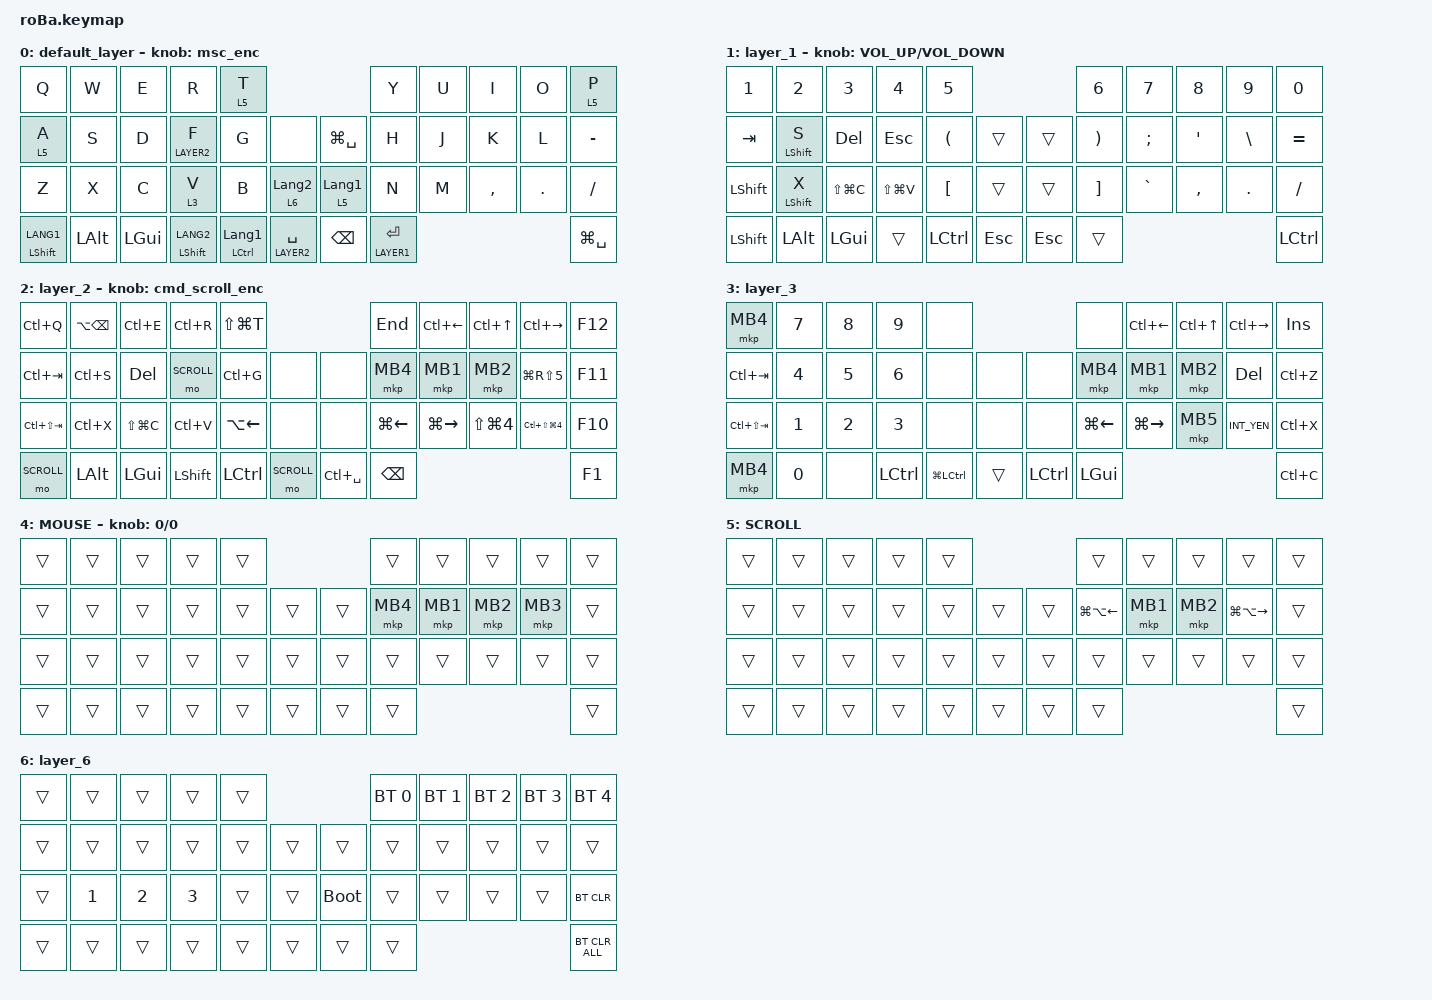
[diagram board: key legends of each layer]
// =============================================================================
// roBa ZMK Keymap - Keyball39からの移行版
// =============================================================================
// Keyball39(39キー) → roBa(43キー) への移行キーマップ
// roBaの左右内側列(pos 15,16,27,28)はKeyball39に存在しないため &none に設定
//
// Keyball固有のキーコード:
//   SCRL_MO (0x5DAC) → mo(SCROLL) で代替
//   CPI変更等 (0x5DA7-0x5DAE) → roBaでは非対応のため &none
//
// [要確認] Layer 1 右側の記号キー配置はスクリーンショットからの読み取りのため
//          実機で確認・調整してください
// =============================================================================

#include <behaviors.dtsi>
#include <dt-bindings/zmk/bt.h>
#include <dt-bindings/zmk/keys.h>
#include <dt-bindings/zmk/pointing.h>

// レイヤー定義

#define DEFAULT 0
#define LAYER1  1  // 数字・記号 (Keyball Layer 1)
#define LAYER2  2  // ナビゲーション・Ctrl操作 (Keyball Layer 2)
#define LAYER3  3  // テンキー・マウス (Keyball Layer 3)
#define MOUSE   4  // マウス自動レイヤー (roBa トラックボール用)
#define SCROLL  5  // スクロールレイヤー (roBa トラックボール用)
#define BT      6  // Bluetooth設定

&mt {
    flavor = "hold-preferred";
    quick-tap-ms = <150>;
    tapping-term-ms = <200>;
};

&trackball { scroll-layers = <SCROLL>; };

/ {
    combos {
        compatible = "zmk,combos";

        tab {
            bindings = <&kp TAB>;
            key-positions = <11 12>;
            timeout-ms = <30>;
            require-prior-idle-ms = <230>;
        };

        shift_tab {
            bindings = <&kp LS(TAB)>;
            key-positions = <12 13>;
            timeout-ms = <30>;
            require-prior-idle-ms = <230>;
        };

        muhennkann {
            bindings = <&to_layer_0 INT_MUHENKAN>;
            key-positions = <11 10>;
            timeout-ms = <30>;
            require-prior-idle-ms = <230>;
        };

        double_quotation {
            bindings = <&kp DOUBLE_QUOTES>;
            key-positions = <20 21>;
            timeout-ms = <30>;
            require-prior-idle-ms = <230>;
        };

        eq {
            bindings = <&kp EQUAL>;
            key-positions = <24 25>;
            timeout-ms = <30>;
            require-prior-idle-ms = <230>;
        };

        cmd_alt_right {
            bindings = <&kp LG(LA(RIGHT))>;
            key-positions = <13 20>;
            timeout-ms = <30>;
            require-prior-idle-ms = <230>;
        };

        cmd_alt_left {
            bindings = <&kp LG(LA(LEFT))>;
            key-positions = <13 17>;
            timeout-ms = <30>;
            require-prior-idle-ms = <230>;
        };
    };

    macros {
        to_layer_0: to_layer_0 {
            compatible = "zmk,behavior-macro-one-param";
            #binding-cells = <1>;
            bindings = <&to 0 &macro_param_1to1 &kp MACRO_PLACEHOLDER>;
            label = "TO_LAYER_0";
        };

        cmd_scroll_up: cmd_scroll_up {
            compatible = "zmk,behavior-macro";
            #binding-cells = <0>;
            wait-ms = <30>;
            tap-ms = <30>;
            bindings =
                <&macro_press>,
                <&kp LGUI>,
                <&macro_tap>,
                <&msc SCRL_UP>,
                <&macro_release>,
                <&kp LGUI>;

            label = "CMD_SCROLL_UP";
        };

        cmd_scroll_down: cmd_scroll_down {
            compatible = "zmk,behavior-macro";
            #binding-cells = <0>;
            wait-ms = <30>;
            tap-ms = <30>;
            bindings =
                <&macro_press>,
                <&kp LGUI>,
                <&macro_tap>,
                <&msc SCRL_DOWN>,
                <&macro_release>,
                <&kp LGUI>;

            label = "CMD_SCROLL_DOWN";
        };
    };

    behaviors {
        lt_to_layer_0: lt_to_layer_0 {
            compatible = "zmk,behavior-hold-tap";
            label = "LAYER_TAP_TO_0";
            bindings = <&mo>, <&to_layer_0>;

            #binding-cells = <2>;
            tapping-term-ms = <200>;
        };

        msc_enc: msc_enc {
            compatible = "zmk,behavior-sensor-rotate";
            #sensor-binding-cells = <0>;
            bindings = <&msc SCRL_UP>, <&msc SCRL_DOWN>;

            tap-ms = <30>;
        };

        cmd_scroll_enc: cmd_scroll_enc {
            compatible = "zmk,behavior-sensor-rotate";
            #sensor-binding-cells = <0>;
            bindings = <&cmd_scroll_up>, <&cmd_scroll_down>;

            tap-ms = <30>;
        };
    };

    // =========================================================================
    // roBa 物理配列 (43キー):
    //
    //  pos:  0    1    2    3    4              5    6    7    8    9
    //  pos: 10   11   12   13   14   15    16  17   18   19   20   21
    //  pos: 22   23   24   25   26   27    28  29   30   31   32   33
    //  pos: 34   35   36   37   38   39    40  41                  42
    //                                     [trackball]
    //
    // pos 15,27 = 左内側列 (Keyball39には存在しない)
    // pos 16,28 = 右内側列 (Keyball39には存在しない)
    // =========================================================================

    keymap {
        compatible = "zmk,keymap";

        // Layer 0: Default (QWERTY) - Keyball39 Layer 0

        default_layer {
            bindings = <
&kp Q            &kp W     &kp E     &kp R            &lt 5 T                                                       &kp Y             &kp U  &kp I      &kp O    &lt 5 P
&lt 5 A          &kp S     &kp D     &lt LAYER2 F     &kp G                &none                 &kp LG(SPACE)     &kp H             &kp J  &kp K      &kp L    &kp MINUS
&kp Z            &kp X     &kp C     &lt 3 V          &kp B                 &lt 6 LANGUAGE_2      &lt 5 LANGUAGE_1  &kp N             &kp M  &kp COMMA  &kp DOT  &kp SLASH
&mt LSHFT LANG1  &kp LALT  &kp LGUI  &mt LSHFT LANG2  &mt LCTRL LANGUAGE_1  &lt LAYER2 SPACE      &kp BSPC          &lt LAYER1 ENTER                             &kp LG(SPACE)
            >;

            sensor-bindings = <&msc_enc>;
        };

        // Layer 1: 数字・記号 - Keyball39 Layer 1 (Enter長押しで発動)
        // [要確認] 右側Row1-2の記号キー配置

        layer_1 {
            bindings = <
&kp N1     &kp N2       &kp N3         &kp N4         &kp N5                           &kp N6    &kp N7     &kp N8     &kp N9    &kp N0
&kp TAB    &mt LSHFT S  &kp DEL        &kp ESC        &kp LPAR   &trans       &trans   &kp RPAR  &kp SEMI   &kp SQT    &kp BSLH  &kp EQUAL
&kp LSHFT  &mt LSHFT X  &kp LS(LG(C))  &kp LS(LG(V))  &kp LBKT   &trans       &trans   &kp RBKT  &kp GRAVE  &kp COMMA  &kp DOT   &kp SLASH
&kp LSHFT  &kp LALT     &kp LGUI       &trans         &kp LCTRL  &kp ESC      &kp ESC  &trans                                    &kp LCTRL
            >;

            sensor-bindings = <&inc_dec_kp C_VOLUME_UP C_VOLUME_DOWN>;
        };

        // Layer 2: ナビゲーション・Ctrl操作 - Keyball39 Layer 2 (F長押し/Space長押しで発動)
        // SCRL_MO (0x5DAC) → mo(SCROLL) で代替

        layer_2 {
            bindings = <
&kp LC(Q)        &kp LA(BSPC)  &kp LC(E)      &kp LC(R)   &kp LS(LG(T))                                 &kp END       &kp LC(LEFT)   &kp LC(UP)      &kp LC(RIGHT)         &kp F12
&kp LC(TAB)      &kp LC(S)     &kp DEL        &mo SCROLL  &kp LC(G)      &none           &none          &mkp MB4      &mkp MB1       &mkp MB2        &kp LG(RS(NUMBER_5))  &kp F11
&kp LC(LS(TAB))  &kp LC(X)     &kp LS(LG(C))  &kp LC(V)   &kp LA(LEFT)   &none           &none          &kp LG(LEFT)  &kp LG(RIGHT)  &kp LS(LG(N4))  &kp LC(LS(LG(N4)))    &kp F10
&mo SCROLL       &kp LALT      &kp LGUI       &kp LSHFT   &kp LCTRL      &mo SCROLL      &kp LC(SPACE)  &kp BSPC                                                           &kp F1
            >;

            sensor-bindings = <&cmd_scroll_enc>;
        };

        // Layer 3: テンキー・マウス - Keyball39 Layer 3 (P長押しで発動)
        // Keyball固有のCPI変更キー(0x5DA7等) → &none

        layer_3 {
            bindings = <
&mkp MB4         &kp N7  &kp N8  &kp N9     &none                                 &none         &kp LC(LEFT)   &kp LC(UP)  &kp LC(RIGHT)  &kp INS
&kp LC(TAB)      &kp N4  &kp N5  &kp N6     &none          &none       &none      &mkp MB4      &mkp MB1       &mkp MB2    &kp DEL        &kp LC(Z)
&kp LC(LS(TAB))  &kp N1  &kp N2  &kp N3     &none          &none       &none      &kp LG(LEFT)  &kp LG(RIGHT)  &mkp MB5    &kp INT_YEN    &kp LC(X)
&mkp MB4         &kp N0  &none   &kp LCTRL  &kp LG(LCTRL)  &trans      &kp LCTRL  &kp LGUI                                                &kp LC(C)
            >;
        };

        // Layer 4: Mouse (自動発動 - トラックボール操作時)

        MOUSE {
            bindings = <
&trans  &trans  &trans  &trans  &trans                      &trans    &trans    &trans    &trans    &trans
&trans  &trans  &trans  &trans  &trans  &trans      &trans  &mkp MB4  &mkp MB1  &mkp MB2  &mkp MB3  &trans
&trans  &trans  &trans  &trans  &trans  &trans      &trans  &trans    &trans    &trans    &trans    &trans
&trans  &trans  &trans  &trans  &trans  &trans      &trans  &trans                                  &trans
            >;

            sensor-bindings = <&inc_dec_kp 0 0>;
        };

        // Layer 5: Scroll (トラックボールスクロールモード)

        SCROLL {
            bindings = <
&trans  &trans  &trans  &trans  &trans                      &trans    &trans    &trans    &trans    &trans
&trans  &trans  &trans  &trans  &trans  &trans      &trans  &kp LG(LA(LEFT))  &mkp MB1  &mkp MB2  &kp LG(LA(RIGHT))  &trans
&trans  &trans  &trans  &trans  &trans  &trans      &trans  &trans    &trans    &trans    &trans    &trans
&trans  &trans  &trans  &trans  &trans  &trans      &trans  &trans                                  &trans
            >;
        };

        // Layer 6: Bluetooth設定

        layer_6 {
            bindings = <
&trans  &trans        &trans        &trans        &trans                           &bt BT_SEL 0  &bt BT_SEL 1  &bt BT_SEL 2  &bt BT_SEL 3  &bt BT_SEL 4
&trans  &trans        &trans        &trans        &trans  &trans      &trans       &trans        &trans        &trans        &trans        &trans
&trans  &kp NUMBER_1  &kp NUMBER_2  &kp NUMBER_3  &trans  &trans      &bootloader  &trans        &trans        &trans        &trans        &bt BT_CLR
&trans  &trans        &trans        &trans        &trans  &trans      &trans       &trans                                                  &bt BT_CLR_ALL
            >;
        };
    };
};
